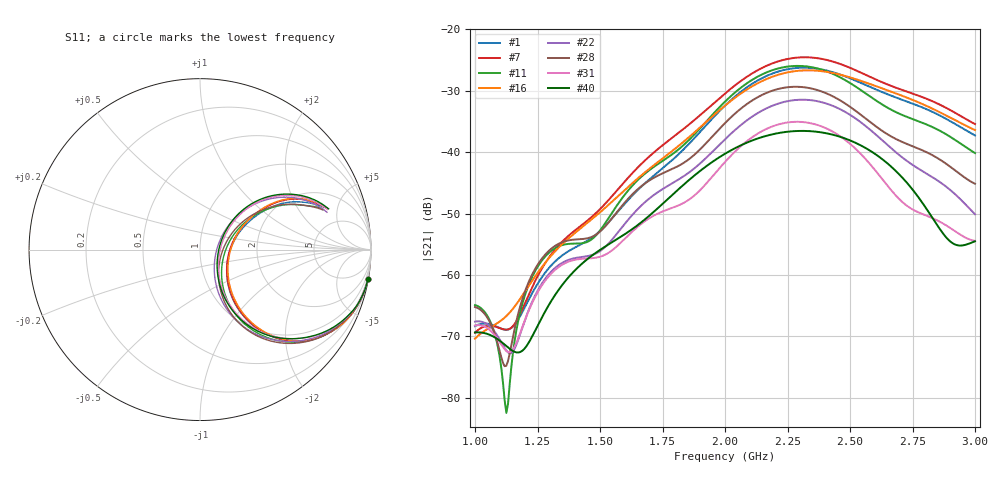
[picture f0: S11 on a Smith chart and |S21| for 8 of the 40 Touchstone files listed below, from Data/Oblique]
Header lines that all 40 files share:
! TOUCHSTONE file generated by CST MICROWAVE STUDIO
! Project name: oblique.cst
! Header version: 2024
! Port assignment regex: !\s*Touchstone port\s*([0-9]+)\s*=\s*(CST MWS port|CST DES external port|CST DES block port)\s*(.+)\s* \(\"(.*)\"\)(\s*mode\s*([0-9]+))?.*
! Touchstone port assignment:
! Touchstone port 1 = CST MWS port 1 ("")
! Touchstone port 2 = CST MWS port 2 ("")
# GHz S DB R 50
Fixed: Tilt = 40, Fracture = 1, B = 10, D = 160, Feed = 2.85625, L = 100, R = 0.384908, length = 57.125, wave = 114.25
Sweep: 1 GHz to 3 GHz
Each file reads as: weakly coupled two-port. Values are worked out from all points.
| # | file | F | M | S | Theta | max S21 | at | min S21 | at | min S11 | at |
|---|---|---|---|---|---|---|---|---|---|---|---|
| 1 | oblique_121.s2p | 5 | 30 | 2 | 90 | -26.25 dB | 2.316 GHz | -68.9 dB | 1.125 GHz | -15.3 dB | 2.362 GHz |
| 2 | oblique_122.s2p | 5 | 30 | 2 | 180 | -26.25 dB | 2.316 GHz | -68.9 dB | 1.125 GHz | -15.3 dB | 2.362 GHz |
| 3 | oblique_123.s2p | 5 | 30 | 2 | 270 | -26.25 dB | 2.316 GHz | -68.9 dB | 1.125 GHz | -15.3 dB | 2.362 GHz |
| 4 | oblique_124.s2p | 5 | 50 | 2 | 90 | -28.96 dB | 2.309 GHz | -71.7 dB | 1.138 GHz | -17.4 dB | 2.355 GHz |
| 5 | oblique_125.s2p | 5 | 50 | 2 | 180 | -28.96 dB | 2.309 GHz | -71.7 dB | 1.138 GHz | -17.4 dB | 2.355 GHz |
| 6 | oblique_126.s2p | 5 | 50 | 2 | 270 | -28.96 dB | 2.309 GHz | -71.7 dB | 1.138 GHz | -17.4 dB | 2.355 GHz |
| 7 | oblique_127.s2p | 15 | 10 | 1 | 90 | -24.55 dB | 2.318 GHz | -69.4 dB | 1 GHz | -15.5 dB | 2.364 GHz |
| 8 | oblique_128.s2p | 15 | 10 | 1 | 180 | -24.55 dB | 2.318 GHz | -69.4 dB | 1 GHz | -15.5 dB | 2.364 GHz |
| 9 | oblique_129.s2p | 15 | 10 | 1 | 270 | -24.55 dB | 2.318 GHz | -69.4 dB | 1 GHz | -15.5 dB | 2.364 GHz |
| 10 | oblique_130.s2p | 15 | 30 | 1 | 90 | -25.95 dB | 2.294 GHz | -81.2 dB | 1.125 GHz | -16.8 dB | 2.347 GHz |
| 11 | oblique_131.s2p | 15 | 30 | 1 | 180 | -25.95 dB | 2.294 GHz | -82.5 dB | 1.125 GHz | -16.8 dB | 2.347 GHz |
| 12 | oblique_132.s2p | 15 | 30 | 1 | 270 | -25.95 dB | 2.294 GHz | -81.2 dB | 1.125 GHz | -16.8 dB | 2.347 GHz |
| 13 | oblique_133.s2p | 15 | 50 | 1 | 90 | -31.09 dB | 2.296 GHz | -74.9 dB | 1.138 GHz | -18.8 dB | 2.362 GHz |
| 14 | oblique_134.s2p | 15 | 50 | 1 | 180 | -31.09 dB | 2.294 GHz | -76.1 dB | 1.139 GHz | -18.8 dB | 2.366 GHz |
| 15 | oblique_135.s2p | 15 | 50 | 1 | 270 | -31.09 dB | 2.296 GHz | -74.9 dB | 1.138 GHz | -18.8 dB | 2.362 GHz |
| 16 | oblique_136.s2p | 15 | 10 | 2 | 90 | -26.67 dB | 2.336 GHz | -70.3 dB | 1 GHz | -15.2 dB | 2.368 GHz |
| 17 | oblique_137.s2p | 15 | 10 | 2 | 180 | -26.67 dB | 2.336 GHz | -70.3 dB | 1 GHz | -15.2 dB | 2.368 GHz |
| 18 | oblique_138.s2p | 15 | 10 | 2 | 270 | -26.67 dB | 2.336 GHz | -70.3 dB | 1 GHz | -15.2 dB | 2.368 GHz |
| 19 | oblique_139.s2p | 15 | 30 | 2 | 90 | -27.76 dB | 2.283 GHz | -74.6 dB | 1.118 GHz | -16.6 dB | 2.336 GHz |
| 20 | oblique_140.s2p | 15 | 30 | 2 | 180 | -27.76 dB | 2.283 GHz | -74.6 dB | 1.118 GHz | -16.6 dB | 2.336 GHz |
| 21 | oblique_141.s2p | 15 | 30 | 2 | 270 | -27.76 dB | 2.283 GHz | -74.6 dB | 1.118 GHz | -16.6 dB | 2.336 GHz |
| 22 | oblique_142.s2p | 15 | 50 | 2 | 90 | -31.45 dB | 2.307 GHz | -72.7 dB | 1.139 GHz | -20.4 dB | 2.366 GHz |
| 23 | oblique_143.s2p | 15 | 50 | 2 | 180 | -31.46 dB | 2.307 GHz | -72.8 dB | 1.139 GHz | -20.4 dB | 2.366 GHz |
| 24 | oblique_144.s2p | 15 | 50 | 2 | 270 | -31.45 dB | 2.307 GHz | -72.7 dB | 1.139 GHz | -20.4 dB | 2.366 GHz |
| 25 | oblique_145.s2p | 25 | 10 | 1 | 90 | -27.07 dB | 2.289 GHz | -68.8 dB | 1 GHz | -14.9 dB | 2.355 GHz |
| 26 | oblique_146.s2p | 25 | 10 | 1 | 180 | -27.07 dB | 2.289 GHz | -68.8 dB | 1 GHz | -14.9 dB | 2.355 GHz |
| 27 | oblique_147.s2p | 25 | 10 | 1 | 270 | -27.07 dB | 2.289 GHz | -68.8 dB | 1 GHz | -14.9 dB | 2.355 GHz |
| 28 | oblique_148.s2p | 25 | 30 | 1 | 90 | -29.35 dB | 2.283 GHz | -74.8 dB | 1.118 GHz | -17.9 dB | 2.349 GHz |
| 29 | oblique_149.s2p | 25 | 30 | 1 | 180 | -29.35 dB | 2.281 GHz | -75.4 dB | 1.119 GHz | -17.9 dB | 2.347 GHz |
| 30 | oblique_150.s2p | 25 | 30 | 1 | 270 | -29.35 dB | 2.283 GHz | -74.8 dB | 1.118 GHz | -17.9 dB | 2.349 GHz |
| 31 | oblique_151.s2p | 25 | 50 | 1 | 90 | -35.06 dB | 2.285 GHz | -72.6 dB | 1.139 GHz | -18.7 dB | 2.384 GHz |
| 32 | oblique_152.s2p | 25 | 50 | 1 | 180 | -35.06 dB | 2.285 GHz | -72.6 dB | 1.139 GHz | -18.7 dB | 2.384 GHz |
| 33 | oblique_153.s2p | 25 | 50 | 1 | 270 | -35.06 dB | 2.285 GHz | -72.6 dB | 1.139 GHz | -18.7 dB | 2.384 GHz |
| 34 | oblique_154.s2p | 25 | 10 | 2 | 90 | -28.29 dB | 2.322 GHz | -68.7 dB | 1 GHz | -14.7 dB | 2.355 GHz |
| 35 | oblique_155.s2p | 25 | 10 | 2 | 180 | -28.29 dB | 2.322 GHz | -68.7 dB | 1 GHz | -14.7 dB | 2.355 GHz |
| 36 | oblique_156.s2p | 25 | 10 | 2 | 270 | -28.29 dB | 2.322 GHz | -68.7 dB | 1 GHz | -14.7 dB | 2.355 GHz |
| 37 | oblique_157.s2p | 25 | 30 | 2 | 90 | -29.89 dB | 2.287 GHz | -72.2 dB | 1.132 GHz | -18.3 dB | 2.34 GHz |
| 38 | oblique_158.s2p | 25 | 30 | 2 | 180 | -29.89 dB | 2.287 GHz | -72.2 dB | 1.132 GHz | -18.3 dB | 2.34 GHz |
| 39 | oblique_159.s2p | 25 | 30 | 2 | 270 | -29.89 dB | 2.287 GHz | -72.2 dB | 1.132 GHz | -18.3 dB | 2.34 GHz |
| 40 | oblique_160.s2p | 25 | 50 | 2 | 90 | -36.54 dB | 2.308 GHz | -72.6 dB | 1.167 GHz | -19.3 dB | 2.384 GHz |
